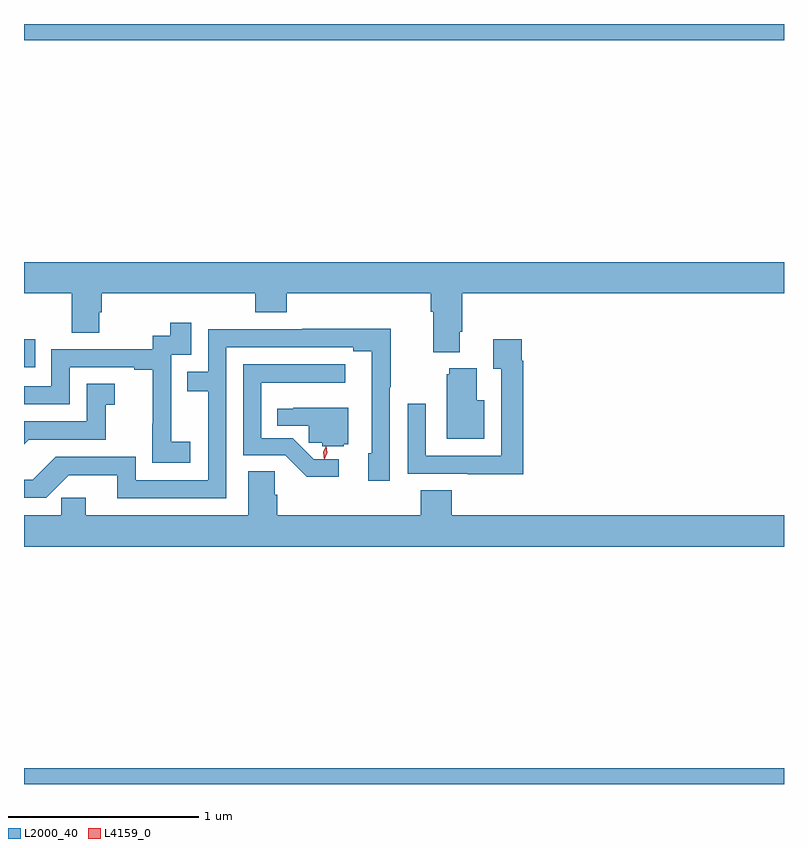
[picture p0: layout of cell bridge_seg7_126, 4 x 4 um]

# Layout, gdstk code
import gdstk
lib = gdstk.Library(unit=1e-6, precision=1e-09)
def R(c, l, rs):  # rectangles x0, y0, x1, y1
    for r in rs: c.add(gdstk.rectangle(r[:2], r[2:], *l))
def P(c, l, *ps):  # polygons
    for p in ps: c.add(gdstk.Polygon(p, *l))
L2000_40 = (2000, 40)
L4159_0 = (4159, 0)

bridge_seg7_126 = lib.new_cell('bridge_seg7_126')
R(bridge_seg7_126, L2000_40, [(661.938,1047.318,665.938,1047.4), (661.938,1049.511,661.997,1049.659), (661.938,1051.232,665.938,1051.318)])
P(bridge_seg7_126, L2000_40, [(664.231,1049.698),(664.244,1049.698),(664.244,1049.9),(665.938,1049.9),(665.938,1050.064),(661.938,1050.064),(661.938,1049.9),(662.188,1049.9),(662.188,1049.692),(662.335,1049.692),(662.335,1049.802),(662.348,1049.802),(662.348,1049.9),(663.155,1049.9),(663.155,1049.801),(663.32,1049.801),(663.32,1049.9),(664.079,1049.9),(664.079,1049.804),(664.091,1049.804),(664.091,1049.591),(664.231,1049.591)],
  [(662.812,1049.119),(662.714,1049.119),(662.714,1049.348),(662.712,1049.348),(662.712,1049.577),(662.817,1049.577),(662.817,1049.746),(662.709,1049.746),(662.709,1049.676),(662.616,1049.676),(662.616,1049.607),(662.082,1049.607),(662.082,1049.412),(661.938,1049.412),(661.938,1049.316),(662.178,1049.316),(662.178,1049.511),(662.519,1049.511),(662.519,1049.499),(662.615,1049.499),(662.615,1049.215),(662.614,1049.215),(662.614,1049.009),(662.812,1049.009)],
  [(663.003,1049.616),(663.671,1049.616),(663.671,1049.596),(663.767,1049.596),(663.767,1049.058),(663.749,1049.058),(663.749,1048.914),(663.864,1048.914),(663.864,1049.407),(663.867,1049.407),(663.867,1049.714),(663.403,1049.714),(663.403,1049.712),(662.907,1049.712),(662.907,1049.487),(662.797,1049.487),(662.797,1049.386),(662.907,1049.386),(662.907,1048.917),(662.526,1048.917),(662.526,1049.04),(662.104,1049.04),(661.984,1048.92),(661.938,1048.92),(661.938,1048.824),(662.054,1048.824),(662.174,1048.944),(662.429,1048.944),(662.429,1048.821),(663.003,1048.821)],
  [(664.565,1049.546),(664.558,1049.546),(664.558,1049.659),(664.409,1049.659),(664.409,1049.503),(664.449,1049.503),(664.449,1049.046),(664.053,1049.046),(664.053,1049.32),(663.957,1049.32),(663.957,1048.95),(664.273,1048.95),(664.273,1048.949),(664.565,1048.949)],
  [(663.594,1049.027),(663.464,1049.027),(663.353,1049.138),(663.186,1049.138),(663.186,1049.429),(663.628,1049.429),(663.628,1049.526),(663.093,1049.526),(663.093,1049.049),(663.312,1049.049),(663.427,1048.934),(663.594,1048.934)],
  [(664.36,1049.338),(664.321,1049.338),(664.321,1049.506),(664.175,1049.506),(664.175,1049.475),(664.163,1049.475),(664.163,1049.135),(664.36,1049.135)],
  [(661.962,1049.13),(662.367,1049.13),(662.367,1049.315),(662.416,1049.315),(662.416,1049.425),(662.268,1049.425),(662.268,1049.226),(661.938,1049.226),(661.938,1049.106)],
  [(663.622,1049.107),(663.644,1049.107),(663.644,1049.297),(663.356,1049.297),(663.356,1049.294),(663.271,1049.294),(663.271,1049.203),(663.436,1049.203),(663.436,1049.115),(663.508,1049.115),(663.508,1049.095),(663.622,1049.095)],
  [(665.938,1048.732),(664.19,1048.732),(664.19,1048.865),(664.025,1048.865),(664.025,1048.732),(663.272,1048.732),(663.272,1048.841),(663.258,1048.841),(663.258,1048.964),(663.119,1048.964),(663.119,1048.732),(662.263,1048.732),(662.263,1048.824),(662.133,1048.824),(662.133,1048.732),(661.938,1048.732),(661.938,1048.568),(665.938,1048.568)])
P(bridge_seg7_126, L4159_0, [(663.517,1049.025),(663.517,1049.025),(663.513,1049.064),(663.529,1049.099),(663.529,1049.099),(663.529,1049.099),(663.533,1049.061),(663.517,1049.025)])

lib.write_gds('bridge_seg7_126.gds')
